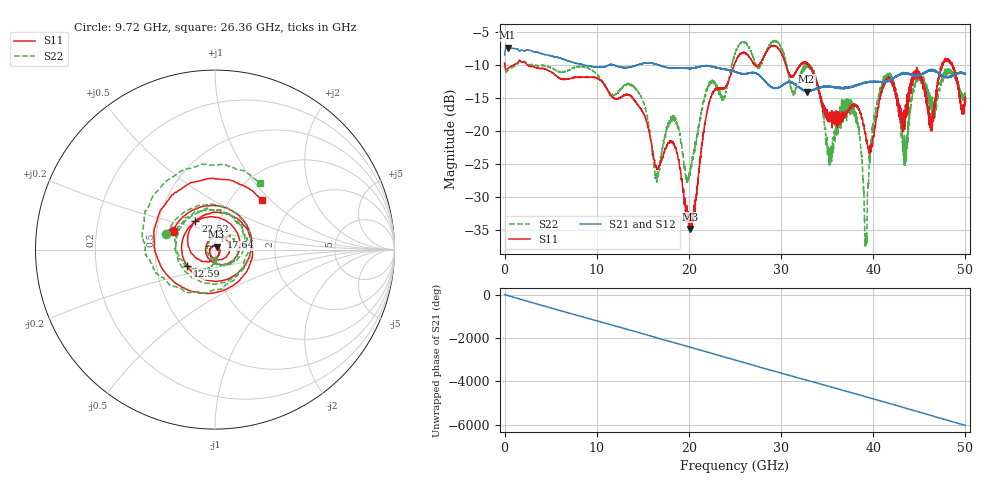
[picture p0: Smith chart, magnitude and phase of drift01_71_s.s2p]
!Created with skrf (http://scikit-rf.org).
# Hz S RI R 50.0
!freq ReS11 ImS11 ReS21 ImS21 ReS12 ImS12 ReS22 ImS22
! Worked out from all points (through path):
!   10001 points, 300 kHz to 50 GHz, reference 50 ohm
!   highest |S21| = -7.33 dB at 315.3 MHz (marker M1); lowest = -14.0 dB at 32.77 GHz (marker M2)
!   group delay of S21, straight-line fit = 335 ps
!   lowest |S11| = -34.8 dB at 20.17 GHz (marker M3), VSWR 1.04, Z = 50.9 + j1.62 ohm
!   |S11| at or under -10 dB: 2.565 GHz to 24.9 GHz (22.33 GHz wide, 163 % of centre); 30.54 GHz to 32.06 GHz (1.525 GHz wide, 4.87 % of centre); 33.05 GHz to 47.45 GHz (14.39 GHz wide, 35.8 % of centre) (the widest 3 of 20)
!   |S22| runs from -37.4 to -6.2 dB; largest |S21 - S12| = 0.011
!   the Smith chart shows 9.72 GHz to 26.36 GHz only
!   S11 on the Smith chart (normalised r, x): 9.72 GHz: 0.61, +0.14; 12.59 GHz: 0.72, -0.14; 17.64 GHz: 1.07, +0.15; 22.52 GHz: 0.77, +0.25; 26.36 GHz: 1.38, +0.89
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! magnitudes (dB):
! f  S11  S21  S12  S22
! 300 kHz  -9.6  -8.4  -8.5  -9.5
! 315.3 MHz  -10.5  -7.3  -7.3  -10.9
! 8.335 GHz  -11.8  -9.8  -9.8  -10.2
! 9.72 GHz  -11.8  -10.2  -10.2  -10.9
! 12.59 GHz  -14.8  -10.3  -10.2  -13.6
! 16.67 GHz  -25.7  -9.9  -9.9  -26.8
! 17.64 GHz  -22.1  -10.3  -10.3  -19.7
! 20.17 GHz  -34.8  -10.4  -10.4  -25.8
! 22.52 GHz  -14.3  -10.2  -10.2  -12.3
! 25 GHz  -9.6  -11.0  -11.0  -8.2
! 26.36 GHz  -8.4  -11.2  -11.2  -6.9
! 32.77 GHz  -9.7  -14.0  -13.8  -9.9
! 33.34 GHz  -10.8  -13.8  -13.7  -10.6
! 35.27 GHz  -17.9  -13.2  -13.2  -23.0
! 37.96 GHz  -16.0  -13.1  -13.1  -17.3
! 39.19 GHz  -20.5  -12.6  -12.6  -36.3
! 40.1 GHz  -20.3  -12.5  -12.5  -17.5
! 41.67 GHz  -11.8  -12.3  -12.3  -12.0
! 43.44 GHz  -18.7  -11.2  -11.2  -24.8
! 44.85 GHz  -11.1  -11.5  -11.5  -12.2
! 46.28 GHz  -18.4  -10.6  -10.5  -15.4
! 50 GHz  -15.4  -11.3  -11.3  -15.0
